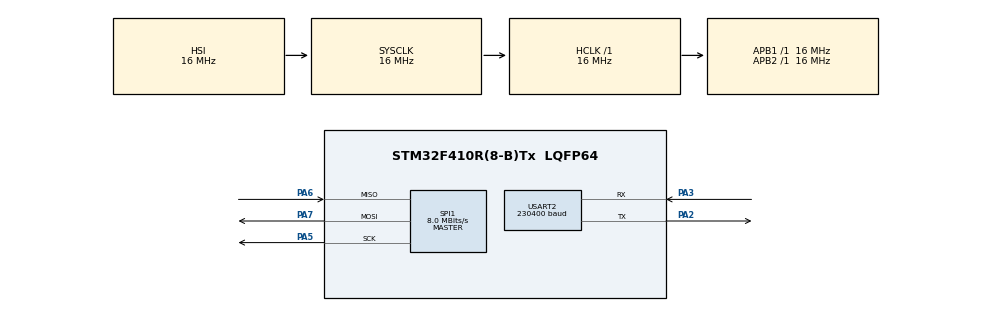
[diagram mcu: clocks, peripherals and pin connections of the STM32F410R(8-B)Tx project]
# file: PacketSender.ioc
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Mcu.Family=STM32F4
Mcu.Name=STM32F410R(8-B)Tx
Mcu.Package=LQFP64
NVIC.PriorityGroup=NVIC_PRIORITYGROUP_4
PA2.Mode=Asynchronous
PA2.Signal=USART2_TX
PA3.Mode=Asynchronous
PA3.Signal=USART2_RX
PA5.Mode=Full_Duplex_Master
PA5.Signal=SPI1_SCK
PA6.Mode=Full_Duplex_Master
PA6.Signal=SPI1_MISO
PA7.Mode=Full_Duplex_Master
PA7.Signal=SPI1_MOSI
ProjectManager.HeapSize=0x200
ProjectManager.StackSize=0x400
ProjectManager.TargetToolchain=STM32CubeIDE
RCC.AHBFreq_Value=16000000
RCC.APB1Freq_Value=16000000
RCC.APB2Freq_Value=16000000
RCC.CortexFreq_Value=16000000
RCC.HSE_VALUE=25000000
RCC.HSI_VALUE=16000000
RCC.LSE_VALUE=32768
RCC.SYSCLKFreq_VALUE=16000000
RCC.VCOOutputFreq_Value=192000000
SPI1.CalculateBaudRate=8.0 MBits/s
SPI1.Direction=SPI_DIRECTION_2LINES
SPI1.Mode=SPI_MODE_MASTER
SPI1.VirtualType=VM_MASTER
USART2.BaudRate=230400
USART2.VirtualMode=VM_ASYNC
board=custom

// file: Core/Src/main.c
/* USER CODE BEGIN Header */
/**
  ******************************************************************************
  * @file           : main.c
  * @brief          : Main program body
  ******************************************************************************
  * @attention
  *
  * Copyright (c) 2026 STMicroelectronics.
  * All rights reserved.
  *
  * This software is licensed under terms that can be found in the LICENSE file
  * in the root directory of this software component.
  * If no LICENSE file comes with this software, it is provided AS-IS.
  *
  ******************************************************************************
  */
/* USER CODE END Header */
#include "main.h"

/* USER CODE BEGIN Includes */
#include "cc1101.h"
#include "animation.h"
#include <stdio.h>

/*
 * ===================================================================
 * WHERE THE FRAMES COME FROM -- set exactly ONE of these to 1.
 * ===================================================================
 *
 * All three feed animation.c, so the cadence is identical in every mode: one
 * frame per period, wall-clock, regardless of how many spans it holds. Only
 * the source of the points differs.
 *
 *   ANIM_FROM_UART       Streamed from the PC by tools/animstream.py.
 *                        Unlimited clip length -- this is the only mode that
 *                        can play all 4381 frames of Bad Apple. Needs a PC
 *                        attached and ~2.5 KB of the 32 KB RAM.
 *
 *   COMPILED_ANIMATION   Baked into flash by tools/anim2c.py. Runs standalone
 *                        with no PC and costs no RAM, but 128 KB of flash is
 *                        only ~300 frames (15 s at 20 fps) before .rodata
 *                        overflows the region.
 *                        REQUIRES animation_data.c/.h, which are generated:
 *                            python tools/anim2c.py <clip>.json --fps 20 \
 *                                                   --kbps 250 --preamble 16
 *                        They are deleted from the tree right now, so this
 *                        mode will not link until you regenerate them.
 *
 *   TRIANGLE_ANIMATION   A filled triangle rotating on the spot, generated on
 *                        the board. No PC, no JSON, no flash tables -- the
 *                        bring-up pattern. When the scope is dark, this is the
 *                        mode that says whether the fault is upstream of the
 *                        transmitter at all.
 */
#define ANIM_FROM_UART      1
#define COMPILED_ANIMATION  0
#define TRIANGLE_ANIMATION  0

#define ANIMATION_FPS       20

/*
 * Catch a mis-set mode at COMPILE time. The #if/#elif chains below would
 * otherwise just silently pick the first one that is true, or fall through to
 * nothing and build a firmware that transmits an uninitialised buffer -- which
 * on a scope looks like a wiring fault, not a configuration mistake.
 */
#if (ANIM_FROM_UART + COMPILED_ANIMATION + TRIANGLE_ANIMATION) != 1
#error "Set exactly one of ANIM_FROM_UART, COMPILED_ANIMATION, TRIANGLE_ANIMATION"
#endif

#if ANIM_FROM_UART
#include "anim_stream.h"
#elif COMPILED_ANIMATION
#include "animation_data.h"
#else
#include "triangle.h"
#endif
/* USER CODE END Includes */

SPI_HandleTypeDef hspi1;

UART_HandleTypeDef huart2;

/* USER CODE BEGIN PV */

/* Playback state. One per clip; the mode block below binds it to a source. */
static animation_t anim;

/* USER CODE END PV */

void SystemClock_Config(void);
static void MX_GPIO_Init(void);
static void MX_SPI1_Init(void);
static void MX_USART2_UART_Init(void);

/* USER CODE BEGIN 0 */
int __io_putchar(int ch) {            /* retarget printf to the ST-Link VCP */
    HAL_UART_Transmit(&huart2, (uint8_t*)&ch, 1, HAL_MAX_DELAY);
    return ch;
}

/*
 * Bind the playback engine to whichever source the mode selects, and say on
 * the console which one it is -- the single most useful line in the log, since
 * "nothing is moving" means something different in each mode.
 */
static void animation_setup(void)
{
#if ANIM_FROM_UART
    /* Arm the DMA receiver BEFORE announcing anything, so the hello message
       and the first window update leave with the receiver already listening. */
    anim_stream_init(&huart2);
    animation_init_source(&anim, anim_stream_next, anim_stream_release,
                          NULL, ANIMATION_FPS);
    printf("animation: UART stream @ %d fps (%lu ms/frame), "
           "%d slots x %d points\r\n",
           ANIMATION_FPS, (unsigned long)anim.period_ms,
           ANIM_STREAM_SLOTS, ANIM_STREAM_MAX_POINTS);
    printf("  run: python tools/animstream.py <clip>.json --baud %lu\r\n",
           (unsigned long)huart2.Init.BaudRate);

#elif COMPILED_ANIMATION
    animation_init(&anim, &animation_clip, ANIMATION_FPS);
    printf("animation: %u frames from flash @ %d fps (%lu ms/frame)\r\n",
           (unsigned)animation_clip.n_frames, ANIMATION_FPS,
           (unsigned long)anim.period_ms);

#else /* TRIANGLE_ANIMATION */
    triangle_init();
    animation_init_source(&anim, triangle_next, triangle_done,
                          NULL, ANIMATION_FPS);
    printf("animation: rotating triangle @ %d fps (%lu ms/frame)\r\n",
           ANIMATION_FPS, (unsigned long)anim.period_ms);
    printf("  %d rows, %d points, %d packets/frame, %d angles/rev "
           "-> %.1f s per turn\r\n",
           TRI_ROWS, TRI_POINTS,
           (TRI_POINTS + CC_MAX_POINTS - 1) / CC_MAX_POINTS, ROT_STEPS,
           (double)ROT_STEPS / ROT_ADVANCE / ANIMATION_FPS);
#endif
}

/*
 * Work that must happen every pass, not once per frame. Empty in the modes
 * that generate their own points.
 */
static inline void animation_service(void)
{
#if ANIM_FROM_UART
    /* Drain the DMA ring into decoded frames. Must run far more often than
       once per frame period: nothing polls while cc1101_send_frame() is
       blocking, so this call is the only thing keeping the 1 KB ring from
       lapping itself. It is cheap and bounded -- see anim_stream.c. */
    anim_stream_poll();
#endif
}

/* Per-mode detail for the once-a-second report. The common counters are
   printed by the caller. */
static void animation_report(void)
{
#if ANIM_FROM_UART
    /*
     * Two different "the animation stutters" causes, and this line tells them
     * apart:
     *   late    -> the RADIO cannot deliver a frame in one period
     *   starved -> the UART/PC cannot deliver a frame in one period
     * They need opposite fixes, so never guess between them.
     */
    const anim_stream_stats_t *s = anim_stream_get_stats();
    printf("  anim: late=%lu starved=%lu | rx: frames=%lu depth=%u "
           "crc=%lu len=%lu ovf=%lu resync=%lu bytes=%lu\r\n",
           (unsigned long)anim.frames_late,
           (unsigned long)anim.frames_starved,
           (unsigned long)s->frames_ok, (unsigned)s->depth,
           (unsigned long)s->crc_errors, (unsigned long)s->len_errors,
           (unsigned long)s->overflows, (unsigned long)s->resyncs,
           (unsigned long)s->bytes);
    /*
     * bytes==0 means the DMA never moved anything, which is a different fault
     * from "frames are arriving but failing". Three suspects, in the order
     * they are worth checking:
     *   1. animstream.py is not running, or is on the wrong COM port
     *   2. --baud does not match huart2.Init.BaudRate
     *   3. USART2_RX is not on DMA1 stream 5 channel 4 on this part
     *      (RM0401 table 27) -- the one thing in anim_stream_init() that could
     *      not be checked from the HAL headers
     */
    if (s->bytes == 0)
        printf("  !! no UART bytes at all -- check animstream.py is running, "
               "--baud matches, and DMA1_S5C4 is USART2_RX\r\n");

#elif COMPILED_ANIMATION
    printf("  anim: frame %u/%u  loops=%lu late=%lu\r\n",
           (unsigned)anim.index, (unsigned)animation_clip.n_frames,
           (unsigned long)anim.loops, (unsigned long)anim.frames_late);

#else /* TRIANGLE_ANIMATION */
    printf("  anim: angle %u/%d  late=%lu\r\n",
           (unsigned)triangle_angle(), ROT_STEPS,
           (unsigned long)anim.frames_late);
#endif
}
/* USER CODE END 0 */

int main(void)
{

  /* MCU Configuration--------------------------------------------------------*/

  /* Reset of all peripherals, Initializes the Flash interface and the Systick. */
  HAL_Init();

  /* Configure the system clock */
  SystemClock_Config();

  /* Initialize all configured peripherals */
  MX_GPIO_Init();
  MX_SPI1_Init();
  MX_USART2_UART_Init();
  /* USER CODE BEGIN 2 */

  printf("\r\n=== PacketSender: CC1101 transmit ===\r\n");

  bool cfg_ok = cc1101_init(&hspi1);

  /* MUST come after cc1101_init -- that call is what hands the driver the SPI
     handle. Read the chip before it and every transfer is a no-op against a
     NULL handle, which reads back as a very convincing 00/00. */
  uint8_t partnum, version;
  cc1101_selftest(&partnum, &version);

  printf("PARTNUM=0x%02X VERSION=0x%02X  config=%s\r\n",
         partnum, version, cfg_ok ? "OK" : "FAILED");

  /* PARTNUM = 0x00 is the CORRECT value for a CC1101 -- it is not a failure.
     VERSION is the liveness check: non-zero with mixed 1s and 0s proves MISO
     can drive both rails. 0x14 is typical but varies by silicon batch, so do
     not hard-fail on a specific value. Both reading 0x00 means no SPI traffic
     reached the chip at all. */
  if (version == 0x00)
      printf("  !! VERSION=0 -- chip not responding. Check wiring/CSn/power.\r\n");

  /* PARTNUM is 0x00 and VERSION is not, so equal values mean the reads are not
     returning register data at all -- a broken MISO reads as plausible-looking
     garbage in every register otherwise. */
  if (partnum == version)
      printf("  !! PARTNUM==VERSION==0x%02X -- read path broken, not the radio.\r\n",
             partnum);

  /* Paced playback. The rate is wall-clock, not data-driven: every frame
     occupies the same period however many spans it holds, so playback speed
     no longer tracks picture complexity. See animation.h. */
  animation_setup();

  /* USER CODE END 2 */

  /* Infinite loop */
  /* USER CODE BEGIN WHILE */

  /*
   * The loop is the same in all three modes: service the source, offer it to
   * the pacer, report once a second. Everything mode-specific was resolved at
   * compile time in the helpers above.
   *
   * If nothing appears on the scope, narrow it with the mode switch rather
   * than by probing: TRIANGLE_ANIMATION removes the PC, the JSON and the
   * inbound UART path from the picture entirely, so if the triangle draws and
   * a streamed clip does not, the radio and the FPGA are both fine.
   */

  uint32_t sent = 0, failed = 0;

  while (1)
  {
    /* USER CODE END WHILE */

    /* USER CODE BEGIN 3 */

    /* Mode-specific upkeep -- draining the UART ring, in the streaming mode.
       Nothing in the other two. */
    animation_service();

    /*
     * Non-blocking: returns immediately until the next frame is due, then
     * transmits exactly one frame. The wait is what fixes the cadence -- see
     * the pacing discussion in animation.h.
     *
     * send_frame splits the frame into ceil(n/28) packets and marks the LAST
     * one end-of-frame, which is what makes the receiver swap banks -- so the
     * display only ever shows a complete frame, never half of one and half of
     * the next. A dropped packet costs a few spans that are one frame stale
     * rather than permanently wrong: the next pass rewrites every index.
     */
    (void)animation_tick(&anim);
    sent   = anim.frames_sent;
    failed = anim.frames_failed;

    /*
     * Report once a second, never from inside the transmit path.
     * __io_putchar blocks on the UART, so a printf per packet would stall the
     * CPU for milliseconds at a time and throttle the send rate.
     */
    static uint32_t t_report = 0;
    if (HAL_GetTick() - t_report >= 1000) {
        t_report = HAL_GetTick();
        const cc1101_tx_diag_t *d = cc1101_last_diag();
        /* frames, not packets -- each pass is several transmits here, and
           the diag describes only the last of them. */
        printf("frames=%lu failed=%lu | txbytes=0x%02X marc=0x%02X "
               "sync=%d done=%d drained=%d timeout=%d\r\n",
               sent, failed, d->txbytes, d->marcstate,
               d->sync_seen, d->sent_ok, d->drained, d->timed_out);

        /* late climbing steadily means the clip is too dense for the frame
           rate: the radio cannot deliver a frame inside its period. Lower
           ANIMATION_FPS, raise the link rate, or simplify the frames.
           tools/anim2c.py predicts this at conversion time. */
        animation_report();
    }

  }
  /* USER CODE END 3 */
}

void SystemClock_Config(void)
{
  RCC_OscInitTypeDef RCC_OscInitStruct = {0};
  RCC_ClkInitTypeDef RCC_ClkInitStruct = {0};

  /** Configure the main internal regulator output voltage
  */
  __HAL_RCC_PWR_CLK_ENABLE();
  __HAL_PWR_VOLTAGESCALING_CONFIG(PWR_REGULATOR_VOLTAGE_SCALE1);

  /** Initializes the RCC Oscillators according to the specified parameters
  * in the RCC_OscInitTypeDef structure.
  */
  RCC_OscInitStruct.OscillatorType = RCC_OSCILLATORTYPE_HSI;
  RCC_OscInitStruct.HSIState = RCC_HSI_ON;
  RCC_OscInitStruct.HSICalibrationValue = RCC_HSICALIBRATION_DEFAULT;
  RCC_OscInitStruct.PLL.PLLState = RCC_PLL_NONE;
  if (HAL_RCC_OscConfig(&RCC_OscInitStruct) != HAL_OK)
  {
    Error_Handler();
  }

  /** Initializes the CPU, AHB and APB buses clocks
  */
  RCC_ClkInitStruct.ClockType = RCC_CLOCKTYPE_HCLK|RCC_CLOCKTYPE_SYSCLK
                              |RCC_CLOCKTYPE_PCLK1|RCC_CLOCKTYPE_PCLK2;
  RCC_ClkInitStruct.SYSCLKSource = RCC_SYSCLKSOURCE_HSI;
  RCC_ClkInitStruct.AHBCLKDivider = RCC_SYSCLK_DIV1;
  RCC_ClkInitStruct.APB1CLKDivider = RCC_HCLK_DIV1;
  RCC_ClkInitStruct.APB2CLKDivider = RCC_HCLK_DIV1;

  if (HAL_RCC_ClockConfig(&RCC_ClkInitStruct, FLASH_LATENCY_0) != HAL_OK)
  {
    Error_Handler();
  }
}

static void MX_SPI1_Init(void)
{

  /* SPI1 parameter configuration*/
  hspi1.Instance = SPI1;
  hspi1.Init.Mode = SPI_MODE_MASTER;
  hspi1.Init.Direction = SPI_DIRECTION_2LINES;
  hspi1.Init.DataSize = SPI_DATASIZE_8BIT;
  hspi1.Init.CLKPolarity = SPI_POLARITY_LOW;
  hspi1.Init.CLKPhase = SPI_PHASE_1EDGE;
  hspi1.Init.NSS = SPI_NSS_SOFT;
  /* HSI with no PLL -> PCLK2 = 16 MHz. Prescaler 2 would give 8 MHz, which is
     over the CC1101's 6.5 MHz BURST limit (single access allows 9 MHz). The TX
     FIFO write is a 63-byte burst -- far longer than anything the RFreceiver
     ever clocked -- so take the /4 and run at 4 MHz. SPI was never the
     bottleneck here anyway; airtime is. */
  hspi1.Init.BaudRatePrescaler = SPI_BAUDRATEPRESCALER_4;
  hspi1.Init.FirstBit = SPI_FIRSTBIT_MSB;
  hspi1.Init.TIMode = SPI_TIMODE_DISABLE;
  hspi1.Init.CRCCalculation = SPI_CRCCALCULATION_DISABLE;
  hspi1.Init.CRCPolynomial = 15;
  if (HAL_SPI_Init(&hspi1) != HAL_OK)
  {
    Error_Handler();
  }

}

static void MX_USART2_UART_Init(void)
{

  huart2.Instance = USART2;
  /* 230400, not 115200: a streamed frame is 180 points x 2 B + 8 B of
     framing = 368 B, and 20 fps of that is 7360 B/s. 115200 delivers
     11520 B/s, so the link would sit at 64% utilisation with no room
     for the retransmit-free protocol to absorb a stall. Mirrored in
     PacketSender.ioc so CubeMX regeneration keeps it. */
  huart2.Init.BaudRate = 230400;
  huart2.Init.WordLength = UART_WORDLENGTH_8B;
  huart2.Init.StopBits = UART_STOPBITS_1;
  huart2.Init.Parity = UART_PARITY_NONE;
  huart2.Init.Mode = UART_MODE_TX_RX;
  huart2.Init.HwFlowCtl = UART_HWCONTROL_NONE;
  huart2.Init.OverSampling = UART_OVERSAMPLING_16;
  if (HAL_UART_Init(&huart2) != HAL_OK)
  {
    Error_Handler();
  }

}

static void MX_GPIO_Init(void)
{

  /* GPIO Ports Clock Enable */
  __HAL_RCC_GPIOA_CLK_ENABLE();

}

void Error_Handler(void)
{
  __disable_irq();
  while (1)
  {
  }
}
